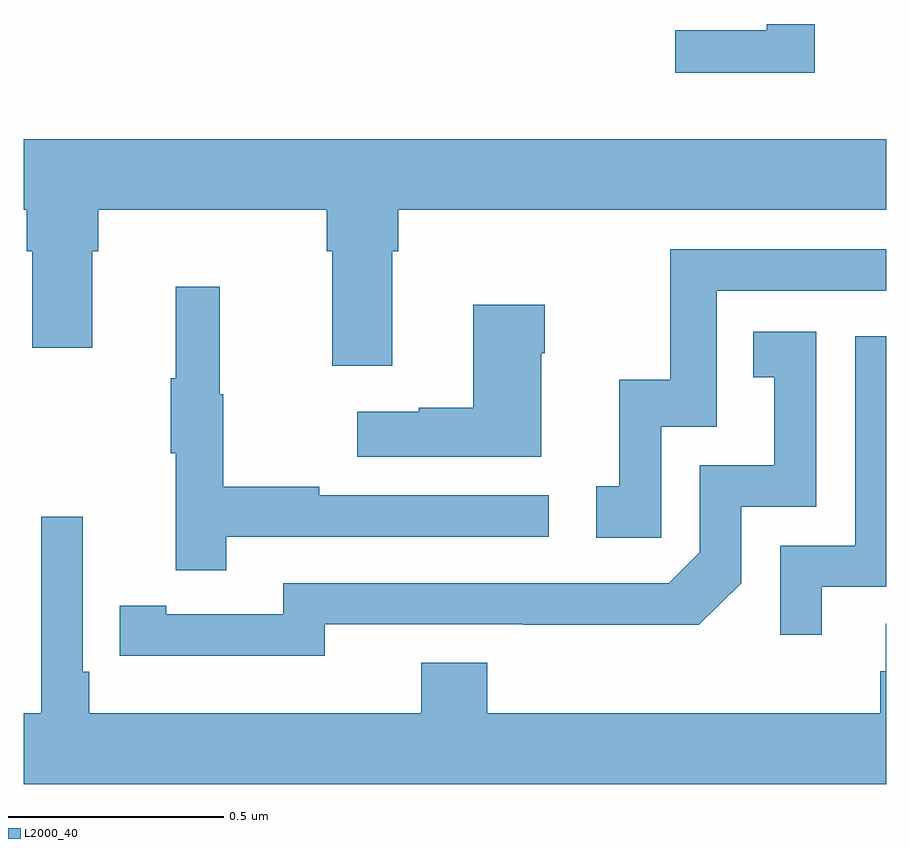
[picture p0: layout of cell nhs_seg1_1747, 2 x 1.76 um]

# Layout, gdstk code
import gdstk
lib = gdstk.Library(unit=1e-6, precision=1e-09)
def P(c, l, *ps):  # polygons
    for p in ps: c.add(gdstk.Polygon(p, *l))
L2000_40 = (2000, 40)

nhs_seg1_1747 = lib.new_cell('nhs_seg1_1747')
P(nhs_seg1_1747, L2000_40, [(134.835,516.199),(134.723,516.199),(134.723,516.184),(134.511,516.184),(134.511,516.086),(134.835,516.086)],
  [(133.855,515.672),(133.868,515.672),(133.868,515.768),(135,515.768),(135,515.932),(133,515.932),(133,515.768),(133.007,515.768),(133.007,515.672),(133.019,515.672),(133.019,515.448),(133.159,515.448),(133.159,515.672),(133.172,515.672),(133.172,515.768),(133.703,515.768),(133.703,515.672),(133.715,515.672),(133.715,515.406),(133.855,515.406)],
  [(134.478,515.265),(134.607,515.265),(134.607,515.58),(135,515.58),(135,515.676),(134.499,515.676),(134.499,515.374),(134.381,515.374),(134.381,515.127),(134.328,515.127),(134.328,515.007),(134.478,515.007)],
  [(133.469,515.01),(134.218,515.01),(134.218,515.106),(133.685,515.106),(133.685,515.126),(133.462,515.126),(133.462,515.34),(133.454,515.34),(133.454,515.59),(133.352,515.59),(133.352,515.377),(133.341,515.377),(133.341,515.203),(133.352,515.203),(133.352,514.932),(133.469,514.932)],
  [(134.2,515.435),(134.208,515.435),(134.208,515.548),(134.042,515.548),(134.042,515.309),(133.916,515.309),(133.916,515.299),(133.773,515.299),(133.773,515.195),(134.2,515.195)],
  [(133.698,514.806),(134.158,514.806),(134.158,514.805),(134.566,514.805),(134.664,514.902),(134.664,515.079),(134.838,515.079),(134.838,515.485),(134.692,515.485),(134.692,515.379),(134.741,515.379),(134.741,515.175),(134.568,515.175),(134.568,514.974),(134.496,514.902),(133.602,514.902),(133.602,514.83),(133.33,514.83),(133.33,514.85),(133.222,514.85),(133.222,514.734),(133.33,514.734),(133.33,514.733),(133.698,514.733)],
  [(134.851,514.893),(135,514.893),(135,515.475),(134.928,515.475),(134.928,514.989),(134.754,514.989),(134.754,514.782),(134.851,514.782)],
  [(133.922,514.717),(133.922,514.6),(133.151,514.6),(133.151,514.696),(133.137,514.696),(133.137,515.056),(133.04,515.056),(133.04,514.6),(133,514.6),(133,514.436),(135,514.436),(135,514.808),(134.999,514.808),(134.999,514.698),(134.987,514.698),(134.987,514.6),(134.075,514.6),(134.075,514.717)])

lib.write_gds('nhs_seg1_1747.gds')
